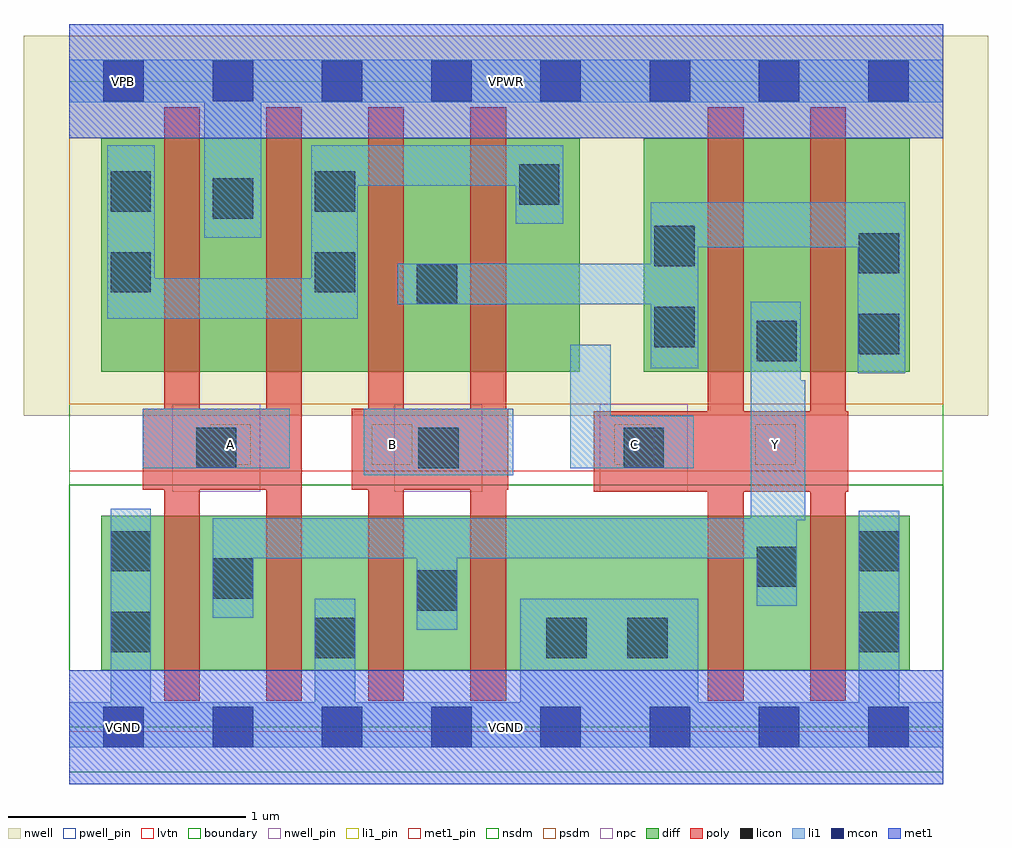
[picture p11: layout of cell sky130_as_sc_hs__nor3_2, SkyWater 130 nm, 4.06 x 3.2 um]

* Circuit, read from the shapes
.subckt sky130_as_sc_hs__nor3_2 A B C VGND VNB VPB VPWR Y
XM1 Y A VGND VNB sky130_fd_pr__nfet_01v8_lvt w=0.65 l=0.15 m=2
XM2 Y B VGND VNB sky130_fd_pr__nfet_01v8_lvt w=0.65 l=0.15 m=2
XM3 Y C VGND VNB sky130_fd_pr__nfet_01v8_lvt w=0.65 l=0.15 m=2
XM4 VPWR A n1 VPB sky130_fd_pr__pfet_01v8 w=0.985 l=0.15 m=2
XM5 n2 B n1 VPB sky130_fd_pr__pfet_01v8 w=0.985 l=0.15 m=2
XM6 Y C n2 VPB sky130_fd_pr__pfet_01v8 w=0.985 l=0.15 m=2
.ends

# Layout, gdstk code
import gdstk
lib = gdstk.Library(unit=1e-6, precision=1e-09)
def R(c, l, rs):  # rectangles x0, y0, x1, y1
    for r in rs: c.add(gdstk.rectangle(r[:2], r[2:], *l))
def A(c, l, x, y, w, h, nx, ny, dx, dy):  # array of equal rectangles
    R(c, l, [(x+i*dx, y+j*dy, x+i*dx+w, y+j*dy+h) for i in range(nx) for j in range(ny)])
nwell_pin = (64, 16)
nwell = (64, 20)
diff = (65, 20)
poly = (66, 20)
licon = (66, 44)
li1_pin = (67, 16)
li1 = (67, 20)
mcon = (67, 44)
met1_pin = (68, 16)
met1 = (68, 20)
nsdm = (93, 44)
psdm = (94, 20)
npc = (95, 20)
pwell_pin = (122, 16)
lvtn = (125, 44)
boundary = (235, 4)

sky130_as_sc_hs__nor3_2 = lib.new_cell('sky130_as_sc_hs__nor3_2')
R(sky130_as_sc_hs__nor3_2, nwell_pin, [(0.145,2.635,0.315,2.805)])
R(sky130_as_sc_hs__nor3_2, nwell, [(-0.19,1.31,3.87,2.91)])
R(sky130_as_sc_hs__nor3_2, diff, [(0.135,0.24,3.54,0.89), (0.135,1.495,2.15,2.48), (2.42,1.495,3.54,2.48)])
A(sky130_as_sc_hs__nor3_2, poly, 0.4, 0.11, 0.15, 0.89, 4, 1, 0.43, 0)
A(sky130_as_sc_hs__nor3_2, poly, 0.4, 1.34, 0.15, 1.27, 4, 1, 0.43, 0)
R(sky130_as_sc_hs__nor3_2, poly, [(2.69,0.11,2.84,0.99), (3.12,0.11,3.27,0.99), (2.21,0.99,3.28,1.33), (0.31,1,0.98,1.34), (1.19,1,1.85,1.34), (2.69,1.33,2.84,2.61), (3.12,1.33,3.27,2.61)])
R(sky130_as_sc_hs__nor3_2, licon, [(1.035,0.29,1.205,0.46), (2.01,0.29,2.18,0.46), (2.35,0.29,2.52,0.46), (0.175,0.315,0.345,0.485), (3.325,0.315,3.495,0.485), (1.465,0.49,1.635,0.66), (0.605,0.54,0.775,0.71), (2.895,0.59,3.065,0.76), (0.175,0.655,0.345,0.825), (3.325,0.655,3.495,0.825), (0.535,1.09,0.705,1.26), (1.47,1.09,1.64,1.26), (2.335,1.09,2.505,1.26), (2.895,1.54,3.065,1.71), (3.325,1.57,3.495,1.74), (2.465,1.6,2.635,1.77), (1.465,1.78,1.635,1.95), (0.175,1.83,0.345,2), (1.035,1.83,1.205,2), (3.325,1.91,3.495,2.08), (2.465,1.94,2.635,2.11), (0.605,2.14,0.775,2.31), (0.175,2.17,0.345,2.34), (1.035,2.17,1.205,2.34), (1.895,2.2,2.065,2.37)])
R(sky130_as_sc_hs__nor3_2, li1_pin, [(0.595,1.105,0.765,1.275), (1.275,1.105,1.445,1.275), (2.295,1.105,2.465,1.275), (2.89,1.105,3.06,1.275)])
R(sky130_as_sc_hs__nor3_2, li1, [(0,-0.085,3.68,0.105), (0.175,0.105,0.345,0.92), (1.035,0.105,1.205,0.54), (1.9,0.105,2.65,0.54), (3.325,0.105,3.495,0.91), (1.465,0.41,1.635,0.71), (0.605,0.46,0.775,0.71), (2.895,0.51,3.065,0.71), (0.605,0.71,3.065,0.87), (0.605,0.87,3.1,0.88), (2.87,0.88,3.1,1.46), (1.24,1.06,1.87,1.34), (0.31,1.09,0.93,1.34), (2.11,1.09,2.63,1.31), (2.11,1.31,2.28,1.61), (2.87,1.46,3.08,1.79), (3.32,1.49,3.52,2.02), (2.45,1.51,2.65,1.78), (0.16,1.72,1.215,1.89), (1.385,1.78,2.65,1.95), (0.16,1.89,0.36,2.45), (1.02,1.89,1.215,2.28), (2.45,1.95,2.65,2.02), (2.45,2.02,3.52,2.21), (0.57,2.06,0.81,2.63), (1.88,2.12,2.08,2.28), (1.02,2.28,2.08,2.45), (0,2.63,3.68,2.81)])
A(sky130_as_sc_hs__nor3_2, mcon, 0.145, -0.085, 0.17, 0.17, 8, 2, 0.46, 2.72)
R(sky130_as_sc_hs__nor3_2, met1_pin, [(0,-0.24,3.68,0.24), (0.145,-0.085,0.315,0.085), (0,2.48,3.68,2.96), (0.145,2.635,0.315,2.805)])
R(sky130_as_sc_hs__nor3_2, met1, [(0,-0.24,3.68,0.24), (0,2.48,3.68,2.96)])
R(sky130_as_sc_hs__nor3_2, nsdm, [(0,-0.19,3.68,1.02)])
R(sky130_as_sc_hs__nor3_2, psdm, [(0,1.36,3.68,2.91)])
R(sky130_as_sc_hs__nor3_2, npc, [(0.435,0.99,0.805,1.36), (1.37,0.99,1.74,1.36), (2.235,0.99,2.605,1.36)])
R(sky130_as_sc_hs__nor3_2, pwell_pin, [(0.145,-0.085,0.315,0.085)])
R(sky130_as_sc_hs__nor3_2, lvtn, [(0,-0.02,3.68,1.08)])
R(sky130_as_sc_hs__nor3_2, boundary, [(0,0,3.68,2.72)])
sky130_as_sc_hs__nor3_2.add(gdstk.Label('VPB', (0.23,2.72), layer=64, texttype=5))
sky130_as_sc_hs__nor3_2.add(gdstk.Label('VPB', (0.23,2.72), layer=64, texttype=5))
sky130_as_sc_hs__nor3_2.add(gdstk.Label('VGND', (0.23,0), layer=68, texttype=5))
sky130_as_sc_hs__nor3_2.add(gdstk.Label('VGND', (1.84,0), layer=68, texttype=5))
sky130_as_sc_hs__nor3_2.add(gdstk.Label('VPWR', (0.23,2.72), layer=68, texttype=5))
sky130_as_sc_hs__nor3_2.add(gdstk.Label('VPWR', (1.84,2.72), layer=68, texttype=5))
sky130_as_sc_hs__nor3_2.add(gdstk.Label('VNB', (0.23,0), layer=64, texttype=59))
sky130_as_sc_hs__nor3_2.add(gdstk.Label('VNB', (0.23,0), layer=64, texttype=59))
sky130_as_sc_hs__nor3_2.add(gdstk.Label('C', (2.38,1.19), layer=67, texttype=5))
sky130_as_sc_hs__nor3_2.add(gdstk.Label('C', (2.38,1.19), layer=67, texttype=5))
sky130_as_sc_hs__nor3_2.add(gdstk.Label('Y', (2.975,1.19), layer=67, texttype=5))
sky130_as_sc_hs__nor3_2.add(gdstk.Label('Y', (2.975,1.19), layer=67, texttype=5))
sky130_as_sc_hs__nor3_2.add(gdstk.Label('B', (1.36,1.19), layer=67, texttype=5))
sky130_as_sc_hs__nor3_2.add(gdstk.Label('B', (1.36,1.19), layer=67, texttype=5))
sky130_as_sc_hs__nor3_2.add(gdstk.Label('A', (0.68,1.19), layer=67, texttype=5))
sky130_as_sc_hs__nor3_2.add(gdstk.Label('A', (0.68,1.19), layer=67, texttype=5))

lib.write_gds('sky130_as_sc_hs__nor3_2.gds')
